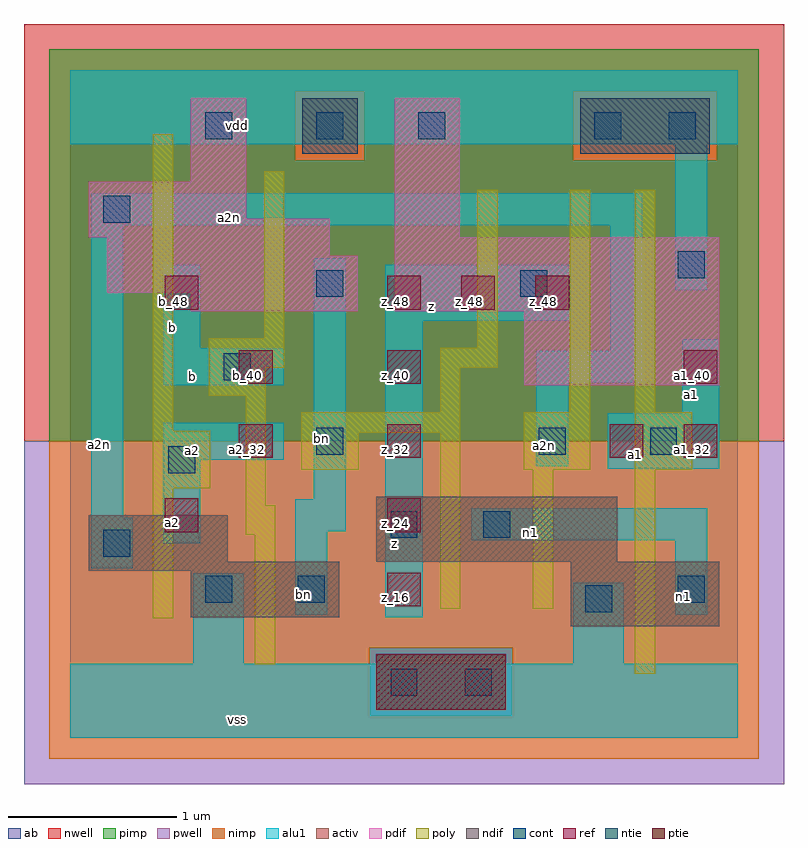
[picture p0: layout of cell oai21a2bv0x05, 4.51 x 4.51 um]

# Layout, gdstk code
import gdstk
lib = gdstk.Library(unit=1e-6, precision=2.5e-09)
def R(c, l, rs):  # rectangles x0, y0, x1, y1
    for r in rs: c.add(gdstk.rectangle(r[:2], r[2:], *l))
def A(c, l, x, y, w, h, nx, ny, dx, dy):  # array of equal rectangles
    R(c, l, [(x+i*dx, y+j*dy, x+i*dx+w, y+j*dy+h) for i in range(nx) for j in range(ny)])
ndif = (3, 0)
pdif = (4, 0)
ntie = (5, 0)
ptie = (6, 0)
ref = (24, 0)
cont = (25, 0)
pwell = (41, 0)
nwell = (42, 0)
activ = (43, 0)
pimp = (44, 0)
nimp = (45, 0)
poly = (46, 0)
alu1 = (49, 0)
ab = (63, 0)

oai21a2bv0x05 = lib.new_cell('oai21a2bv0x05')
R(oai21a2bv0x05, ndif, [(2.97,0.66,3.85,1.045), (0.715,0.715,1.595,0.99), (0.11,0.99,1.595,1.045), (0.11,1.045,0.935,1.32), (1.815,1.045,3.245,1.43)])
R(oai21a2bv0x05, pdif, [(2.695,2.09,3.85,2.53), (0.715,2.53,1.705,2.64), (1.925,2.53,3.85,2.97), (0.22,2.64,1.705,2.86), (0.22,2.86,1.54,2.97), (0.11,2.97,1.54,3.08), (1.925,2.97,2.31,3.795), (0.11,3.08,1.045,3.3), (0.715,3.3,1.045,3.795)])
R(oai21a2bv0x05, ntie, [(1.375,3.465,1.705,3.795), (3.025,3.465,3.795,3.795)])
R(oai21a2bv0x05, ptie, [(1.815,0.165,2.585,0.495)])
A(oai21a2bv0x05, ref, 1.88, 0.78, 0.2, 0.2, 1, 4, 0, 0.44)
A(oai21a2bv0x05, ref, 1.88, 2.54, 0.2, 0.2, 3, 1, 0.44, 0)
R(oai21a2bv0x05, ref, [(0.56,1.22,0.76,1.42), (1,1.66,1.2,1.86), (3.2,1.66,3.4,1.86), (3.64,1.66,3.84,1.86), (1,2.1,1.2,2.3), (3.64,2.1,3.84,2.3), (0.56,2.54,0.76,2.74)])
A(oai21a2bv0x05, cont, 1.46, 1.68, 0.16, 0.16, 1, 3, 0, 0.935)
R(oai21a2bv0x05, cont, [(1.9,0.25,2.06,0.41), (2.34,0.25,2.5,0.41), (3.055,0.745,3.215,0.905), (0.8,0.8,0.96,0.96), (1.35,0.8,1.51,0.96), (3.605,0.8,3.765,0.96), (0.195,1.075,0.355,1.235), (1.9,1.185,2.06,1.345), (2.45,1.185,2.61,1.345), (0.58,1.57,0.74,1.73), (2.78,1.68,2.94,1.84), (3.44,1.68,3.6,1.84), (0.91,2.12,1.07,2.28), (2.67,2.615,2.83,2.775), (3.605,2.725,3.765,2.885), (0.195,3.055,0.355,3.215), (0.8,3.55,0.96,3.71), (2.065,3.55,2.225,3.71), (3.11,3.55,3.27,3.71), (3.55,3.55,3.71,3.71)])
R(oai21a2bv0x05, pwell, [(-0.275,-0.275,4.235,1.76)])
R(oai21a2bv0x05, nwell, [(-0.275,1.76,4.235,4.235)])
R(oai21a2bv0x05, activ, [(1.815,0.165,2.585,0.495), (2.97,0.66,3.85,1.045), (0.715,0.715,1.595,0.99), (0.11,0.99,1.595,1.045), (0.11,1.045,0.935,1.32), (1.815,1.045,3.245,1.43), (2.695,2.09,3.85,2.53), (0.715,2.53,1.705,2.64), (1.925,2.53,3.85,2.97), (0.22,2.64,1.705,2.86), (0.22,2.86,1.54,2.97), (0.11,2.97,1.54,3.08), (1.925,2.97,2.31,3.795), (0.11,3.08,1.045,3.3), (0.715,3.3,1.045,3.795), (1.375,3.465,1.705,3.795), (3.025,3.465,3.795,3.795)])
R(oai21a2bv0x05, pimp, [(1.775,0.125,2.625,0.535), (-0.125,1.76,4.085,3.425), (-0.125,3.425,1.335,3.835), (1.745,3.425,2.985,3.835), (3.835,3.425,4.085,3.835), (-0.125,3.835,4.085,4.085)])
R(oai21a2bv0x05, nimp, [(-0.125,-0.125,4.085,0.125), (-0.125,0.125,1.775,0.535), (2.625,0.125,4.085,0.535), (-0.125,0.535,4.085,1.76), (1.335,3.425,1.745,3.835), (2.985,3.425,3.835,3.835)])
R(oai21a2bv0x05, poly, [(3.35,0.38,3.47,1.59), (1.095,0.435,1.215,1.205), (0.49,0.71,0.61,1.48), (2.195,0.765,2.315,1.81), (2.745,0.765,2.865,1.59), (1.04,1.205,1.215,1.38), (1.04,1.38,1.16,2.03), (0.49,1.48,0.83,1.82), (1.37,1.59,1.71,1.81), (2.69,1.59,3.085,1.93), (3.35,1.59,3.69,1.93), (1.37,1.81,2.315,1.93), (0.49,1.82,0.61,3.58), (2.195,1.93,2.315,2.195), (2.965,1.93,3.085,3.25), (3.35,1.93,3.47,3.25), (0.82,2.03,1.16,2.195), (0.82,2.195,1.27,2.37), (2.195,2.195,2.535,2.315), (2.415,2.315,2.535,3.25), (1.15,2.37,1.27,3.36)])
R(oai21a2bv0x05, alu1, [(0,0,3.96,0.44), (0.73,0.44,1.03,0.975), (2.985,0.44,3.285,0.92), (1.87,0.715,2.09,2.475), (1.335,0.73,1.525,1.225), (3.59,0.73,3.78,1.17), (0.125,1.005,0.37,1.305), (0.55,1.155,0.77,1.65), (2.38,1.17,3.78,1.36), (1.335,1.225,1.635,1.415), (0.125,1.305,0.315,3.04), (1.445,1.415,1.635,2.845), (3.19,1.595,3.85,1.925), (2.765,1.61,2.955,2.105), (0.55,1.65,1.265,1.87), (3.63,1.925,3.85,2.365), (0.55,2.09,1.265,2.31), (2.765,2.105,3.395,2.295), (3.205,2.295,3.395,3.04), (0.55,2.31,0.77,2.805), (1.87,2.475,2.97,2.805), (3.59,2.655,3.78,3.52), (0.125,3.04,3.395,3.23), (0,3.52,3.96,3.96)])
R(oai21a2bv0x05, ab, [(0,0,3.96,3.96)])
oai21a2bv0x05.add(gdstk.Label('vss', (0.99,0.11), layer=49, texttype=0))
oai21a2bv0x05.add(gdstk.Label('n1', (3.6375,0.84), layer=49, texttype=0))
oai21a2bv0x05.add(gdstk.Label('n1', (2.73,1.2175), layer=49, texttype=0))
oai21a2bv0x05.add(gdstk.Label('a1', (3.355,1.6775), layer=49, texttype=0))
oai21a2bv0x05.add(gdstk.Label('a1', (3.685,2.035), layer=49, texttype=0))
oai21a2bv0x05.add(gdstk.Label('a2n', (2.8125,1.7325), layer=49, texttype=0))
oai21a2bv0x05.add(gdstk.Label('z', (1.925,1.155), layer=49, texttype=0))
oai21a2bv0x05.add(gdstk.Label('bn', (1.3825,0.8525), layer=49, texttype=0))
oai21a2bv0x05.add(gdstk.Label('z', (2.145,2.5575), layer=49, texttype=0))
oai21a2bv0x05.add(gdstk.Label('bn', (1.4925,1.7725), layer=49, texttype=0))
oai21a2bv0x05.add(gdstk.Label('a2', (0.605,1.2775), layer=49, texttype=0))
oai21a2bv0x05.add(gdstk.Label('a2', (0.7275,1.705), layer=49, texttype=0))
oai21a2bv0x05.add(gdstk.Label('b', (0.7275,2.145), layer=49, texttype=0))
oai21a2bv0x05.add(gdstk.Label('b', (0.605,2.4325), layer=49, texttype=0))
oai21a2bv0x05.add(gdstk.Label('a2n', (0.1725,1.7375), layer=49, texttype=0))
oai21a2bv0x05.add(gdstk.Label('a2n', (0.9425,3.0875), layer=49, texttype=0))
oai21a2bv0x05.add(gdstk.Label('vdd', (0.99,3.63), layer=49, texttype=0))
oai21a2bv0x05.add(gdstk.Label('b_48', (0.61,2.59), layer=24, texttype=0))
oai21a2bv0x05.add(gdstk.Label('a1_32', (3.25,1.71), layer=24, texttype=0))
oai21a2bv0x05.add(gdstk.Label('a1_32', (3.69,1.71), layer=24, texttype=0))
oai21a2bv0x05.add(gdstk.Label('z_32', (1.93,1.71), layer=24, texttype=0))
oai21a2bv0x05.add(gdstk.Label('z_24', (1.93,1.27), layer=24, texttype=0))
oai21a2bv0x05.add(gdstk.Label('b_40', (1.05,2.15), layer=24, texttype=0))
oai21a2bv0x05.add(gdstk.Label('a2_32', (1.05,1.71), layer=24, texttype=0))
oai21a2bv0x05.add(gdstk.Label('a2_24', (0.61,1.27), layer=24, texttype=0))
oai21a2bv0x05.add(gdstk.Label('z_40', (1.93,2.15), layer=24, texttype=0))
oai21a2bv0x05.add(gdstk.Label('z_48', (2.37,2.59), layer=24, texttype=0))
oai21a2bv0x05.add(gdstk.Label('z_48', (1.93,2.59), layer=24, texttype=0))
oai21a2bv0x05.add(gdstk.Label('z_48', (2.81,2.59), layer=24, texttype=0))
oai21a2bv0x05.add(gdstk.Label('z_16', (1.93,0.83), layer=24, texttype=0))
oai21a2bv0x05.add(gdstk.Label('a1_40', (3.69,2.15), layer=24, texttype=0))

lib.write_gds('oai21a2bv0x05.gds')
